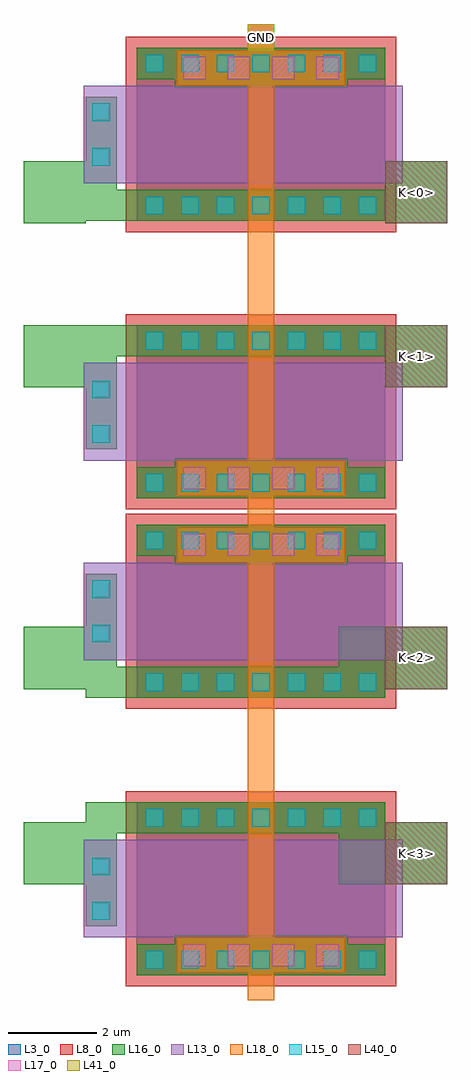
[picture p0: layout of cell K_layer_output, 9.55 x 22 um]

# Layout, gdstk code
from math import pi, radians
import gdstk
lib = gdstk.Library(unit=1e-6, precision=1e-09)
def R(c, l, rs):  # rectangles x0, y0, x1, y1
    for r in rs: c.add(gdstk.rectangle(r[:2], r[2:], *l))
def A(c, l, x, y, w, h, nx, ny, dx, dy):  # array of equal rectangles
    R(c, l, [(x+i*dx, y+j*dy, x+i*dx+w, y+j*dy+h) for i in range(nx) for j in range(ny)])
L3_0 = (3, 0)
L8_0 = (8, 0)
L13_0 = (13, 0)
L15_0 = (15, 0)
L16_0 = (16, 0)
L17_0 = (17, 0)
L18_0 = (18, 0)
L40_0 = (40, 0)
L41_0 = (41, 0)

nch_cdns_755285858460 = lib.new_cell('nch_CDNS_755285858460')
R(nch_cdns_755285858460, L3_0, [(-0.85,0,-0.15,5.6), (-0.85,0,-0.15,5.6), (-0.15,0,2.35,5.6), (2.35,0,3.05,5.6), (2.35,0,3.05,5.6)])
R(nch_cdns_755285858460, L8_0, [(-1.1,-0.25,3.3,5.85)])
R(nch_cdns_755285858460, L13_0, [(0,-0.4,2.2,6)])
A(nch_cdns_755285858460, L15_0, -0.7, 0.2, 0.4, 0.4, 1, 7, 0, 0.8)
A(nch_cdns_755285858460, L15_0, 2.5, 0.2, 0.4, 0.4, 1, 7, 0, 0.8)
R(nch_cdns_755285858460, L16_0, [(-0.85,0,-0.15,5.6), (2.35,0,3.05,5.6)])
nch_cdns_755285858460.add(gdstk.Label('D', (2.7,2.8), layer=59, texttype=0))
nch_cdns_755285858460.add(gdstk.Label('S', (-0.5,2.8), layer=59, texttype=0))
nch_cdns_755285858460.add(gdstk.Label('G', (1.1,2.8), layer=59, texttype=0))
nch_cdns_755285858460.add(gdstk.Label('& SerialNumber 000000', (0,0), layer=16, texttype=0))
nch_cdns_755285858460.add(gdstk.Label('& Distributor VIS', (0,0), layer=16, texttype=0))
nch_cdns_755285858460.add(gdstk.Label('& Metric 1', (0,0), layer=16, texttype=0))
nch_cdns_755285858460.add(gdstk.Label('& Version    \t  1.7A', (0,0), layer=16, texttype=0))
nch_cdns_755285858460.add(gdstk.Label('& PDKName     vis35cv', (0,0), layer=16, texttype=0))
nch_cdns_755285858460.add(gdstk.Label('& Vendor VIS Corp.', (0,0), layer=16, texttype=0))
nch_cdns_755285858460.add(gdstk.Label('& SerialNumber 000000', (0,0), layer=63, texttype=63))
nch_cdns_755285858460.add(gdstk.Label('& Distributor VIS', (0,0), layer=63, texttype=63))
nch_cdns_755285858460.add(gdstk.Label('& Metric 1', (0,0), layer=63, texttype=63))
nch_cdns_755285858460.add(gdstk.Label('& Version    \t  1.7A', (0,0), layer=63, texttype=63))
nch_cdns_755285858460.add(gdstk.Label('& PDKName     vis35cv', (0,0), layer=63, texttype=63))
nch_cdns_755285858460.add(gdstk.Label('& Vendor VIS Corp.', (0,0), layer=63, texttype=63))

m2_m1_cdns_755285858460 = lib.new_cell('M2_M1_CDNS_755285858460')
R(m2_m1_cdns_755285858460, L16_0, [(-1.95,-0.45,1.95,0.45)])
A(m2_m1_cdns_755285858460, L17_0, -1.75, -0.25, 0.5, 0.5, 4, 1, 1, 0)
R(m2_m1_cdns_755285858460, L18_0, [(-1.9,-0.4,1.9,0.4)])

m1_poly1_cdns_7552858584 = lib.new_cell('M1_POLY1_CDNS_755285858461')
R(m1_poly1_cdns_7552858584, L13_0, [(-0.4,-0.9,0.4,0.9)])
R(m1_poly1_cdns_7552858584, L15_0, [(-0.2,-0.7,0.2,-0.3), (-0.2,0.3,0.2,0.7)])
R(m1_poly1_cdns_7552858584, L16_0, [(-0.35,-0.85,0.35,0.85)])

k_layer_output = lib.new_cell('K_layer_output')
R(k_layer_output, L13_0, [(1.35,1.41,2.15,3.61), (1.35,7.66,2.15,9.86), (1.35,12.16,2.15,14.36), (1.35,18.41,2.15,20.61)])
R(k_layer_output, L16_0, [(0,2.61,1.4,4.01), (7.1,2.61,8.15,3.76), (8.15,2.61,9.55,4.01), (0,7.01,1.4,8.41), (8.15,7.01,9.55,8.41), (7.1,7.51,8.15,8.41), (0,13.81,1.4,15.21), (8.15,13.81,9.55,15.21), (0,17.51,1.4,18.91), (8.15,17.51,9.55,18.91)])
R(k_layer_output, L40_0, [(8.15,2.61,9.55,4.01), (8.15,7.01,9.55,8.41), (8.15,13.81,9.55,15.21), (8.15,17.51,9.55,18.91)])
R(k_layer_output, L41_0, [(5.05,21.4,5.65,22)])
k_layer_output.add(gdstk.FlexPath([(2.55,17.91),(1.75,17.91)], 0.7, ends=(0, 0.35), simple_path=True, layer=16, datatype=0))  # L16_0
k_layer_output.add(gdstk.FlexPath([(2.55,14.86),(1.75,14.86)], 0.7, ends=(0, 0.35), simple_path=True, layer=16, datatype=0))  # L16_0
k_layer_output.add(gdstk.FlexPath([(1.75,4.11),(1.75,2.51)], 0.7, ends=(0.35, 0), simple_path=True, layer=16, datatype=0))  # L16_0
k_layer_output.add(gdstk.FlexPath([(2.55,4.11),(1.75,4.11)], 0.7, ends=(0, 0.35), simple_path=True, layer=16, datatype=0))  # L16_0
k_layer_output.add(gdstk.FlexPath([(1.75,7.16),(1.75,8.76)], 0.7, ends=(0.35, 0), simple_path=True, layer=16, datatype=0))  # L16_0
k_layer_output.add(gdstk.FlexPath([(2.55,7.16),(1.75,7.16)], 0.7, ends=(0, 0.35), simple_path=True, layer=16, datatype=0))  # L16_0
k_layer_output.add(gdstk.FlexPath([(1.75,14.86),(1.75,13.26)], 0.7, ends=(0.35, 0), simple_path=True, layer=16, datatype=0))  # L16_0
k_layer_output.add(gdstk.FlexPath([(1.75,17.91),(1.75,19.51)], 0.7, ends=(0.35, 0), simple_path=True, layer=16, datatype=0))  # L16_0
k_layer_output.add(gdstk.FlexPath([(5.35,22),(5.35,0)], 0.6, ends="flush", simple_path=True, layer=18, datatype=0))  # L18_0
k_layer_output.add(gdstk.Reference(nch_cdns_755285858460, (8.15,1.41), rotation=pi/2))
k_layer_output.add(gdstk.Reference(nch_cdns_755285858460, (8.15,9.86), rotation=3*pi/2, x_reflection=True))
k_layer_output.add(gdstk.Reference(nch_cdns_755285858460, (8.15,12.16), rotation=pi/2))
k_layer_output.add(gdstk.Reference(nch_cdns_755285858460, (2.55,20.61), rotation=3*pi/2))
k_layer_output.add(gdstk.Reference(m2_m1_cdns_755285858460, (5.35,1.01)))
k_layer_output.add(gdstk.Reference(m2_m1_cdns_755285858460, (5.35,10.26)))
k_layer_output.add(gdstk.Reference(m2_m1_cdns_755285858460, (5.35,11.76)))
k_layer_output.add(gdstk.Reference(m2_m1_cdns_755285858460, (5.35,21.01)))
k_layer_output.add(gdstk.Reference(m1_poly1_cdns_7552858584, (1.75,2.51)))
k_layer_output.add(gdstk.Reference(m1_poly1_cdns_7552858584, (1.75,8.76)))
k_layer_output.add(gdstk.Reference(m1_poly1_cdns_7552858584, (1.75,13.26)))
k_layer_output.add(gdstk.Reference(m1_poly1_cdns_7552858584, (1.75,19.51)))
k_layer_output.add(gdstk.Label('K<3>', (8.85,3.31), layer=41, texttype=0))
k_layer_output.add(gdstk.Label('K<2>', (8.85,7.71), layer=41, texttype=0))
k_layer_output.add(gdstk.Label('K<1>', (8.85,14.51), layer=41, texttype=0))
k_layer_output.add(gdstk.Label('K<0>', (8.85,18.21), layer=41, texttype=0))
k_layer_output.add(gdstk.Label('GND', (5.35,21.7), layer=41, texttype=0))

lib.write_gds('K_layer_output.gds')
